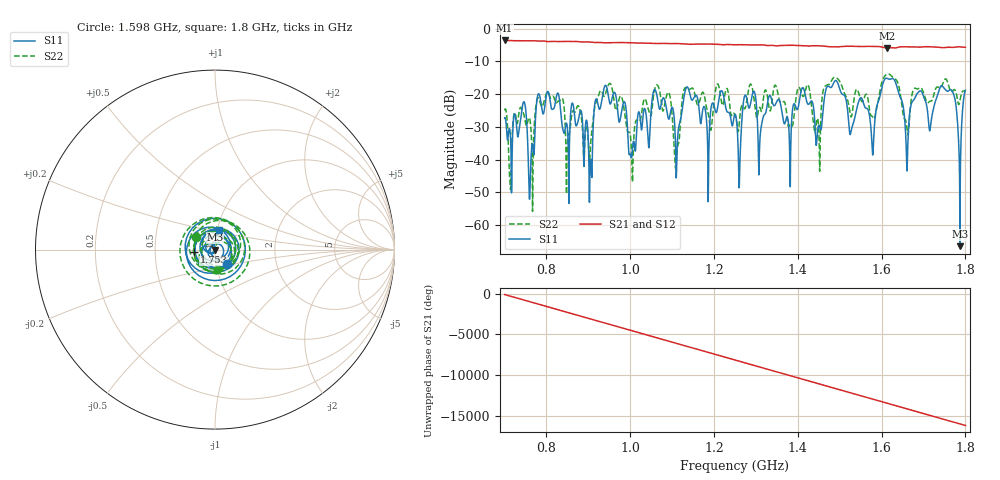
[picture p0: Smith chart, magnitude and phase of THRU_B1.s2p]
# Hz S RI R 50
! RAW DATA - UNCALIBRATED
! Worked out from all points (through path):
!   1601 points, 700 MHz to 1.8 GHz, reference 50 ohm
!   highest |S21| = -3.62 dB at 700 MHz (marker M1); lowest = -5.9 dB at 1.614 GHz (marker M2)
!   group delay of S21, straight-line fit = 40.4 ns
!   lowest |S11| = -66.4 dB at 1.787 GHz (marker M3), VSWR 1.00, Z = 50 + j0.0347 ohm
!   |S11| at or under -10 dB: start of sweep to end of sweep
!   |S22| runs from -55.8 to -13.8 dB; largest |S21 - S12| = 0.11
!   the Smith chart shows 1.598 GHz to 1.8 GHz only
!   S11 on the Smith chart (normalised r, x): 1.598 GHz: 1.12, -0.19; 1.753 GHz: 0.79, -0.02; 1.8 GHz: 1.02, +0.23
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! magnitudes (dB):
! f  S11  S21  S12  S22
! 700 MHz  -27.3  -3.6  -3.6  -25.0
! 713.1 MHz  -31.4  -3.6  -3.6  -47.1
! 746.1 MHz  -22.3  -3.7  -3.7  -26.3
! 761.9 MHz  -43.1  -3.7  -3.7  -29.1
! 801.8 MHz  -19.3  -4.0  -4.0  -19.4
! 883.6 MHz  -25.5  -4.1  -4.1  -27.4
! 904.9 MHz  -40.2  -4.1  -4.1  -36.2
! 917.9 MHz  -21.5  -4.2  -4.2  -22.5
! 951.6 MHz  -23.0  -4.3  -4.3  -16.7
! 1.004 GHz  -38.5  -4.3  -4.3  -41.3
! 1.067 GHz  -23.0  -4.5  -4.5  -17.7
! 1.11 GHz  -45.6  -4.6  -4.6  -40.7
! 1.132 GHz  -18.4  -4.7  -4.8  -18.0
! 1.25 GHz  -26.1  -4.9  -4.9  -26.5
! 1.434 GHz  -22.1  -5.2  -5.2  -24.8
! 1.598 GHz  -19.6  -5.6  -5.6  -17.8
! 1.614 GHz  -15.2  -5.9  -5.8  -13.9
! 1.617 GHz  -15.4  -5.9  -5.9  -13.9
! 1.66 GHz  -43.4  -5.5  -5.5  -30.3
! 1.753 GHz  -18.8  -5.7  -5.8  -15.4
! 1.787 GHz  -66.4  -5.6  -5.6  -22.0
! 1.8 GHz  -18.8  -5.7  -5.8  -18.9
